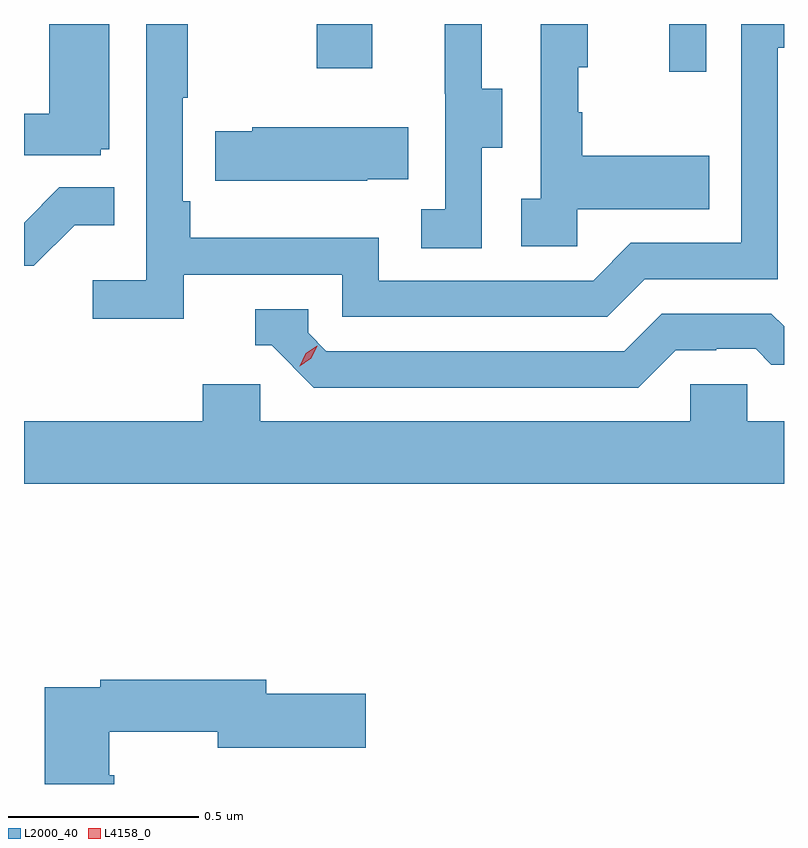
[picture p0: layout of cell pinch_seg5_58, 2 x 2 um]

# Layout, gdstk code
import gdstk
lib = gdstk.Library(unit=1e-6, precision=1e-09)
def R(c, l, rs):  # rectangles x0, y0, x1, y1
    for r in rs: c.add(gdstk.rectangle(r[:2], r[2:], *l))
def P(c, l, *ps):  # polygons
    for p in ps: c.add(gdstk.Polygon(p, *l))
L2000_40 = (2000, 40)
L4158_0 = (4158, 0)

pinch_seg5_58 = lib.new_cell('pinch_seg5_58')
R(pinch_seg5_58, L2000_40, [(1018.79,904.464,1018.887,904.59), (1017.862,904.473,1018.009,904.59)])
P(pinch_seg5_58, L2000_40, [(1017.294,904.26),(1017.316,904.26),(1017.316,904.59),(1017.158,904.59),(1017.158,904.354),(1017.092,904.354),(1017.092,904.245),(1017.294,904.245)],
  [(1018.296,904.264),(1018.351,904.264),(1018.351,904.419),(1018.297,904.419),(1018.297,904.59),(1018.199,904.59),(1018.199,904.407),(1018.2,904.407),(1018.2,904.103),(1018.137,904.103),(1018.137,904),(1018.296,904)],
  [(1017.512,903.93),(1017.93,903.93),(1017.93,903.819),(1018.627,903.819),(1018.726,903.918),(1019.076,903.918),(1019.076,904.527),(1019.092,904.527),(1019.092,904.59),(1018.98,904.59),(1018.98,904.014),(1018.689,904.014),(1018.59,903.915),(1018.026,903.915),(1018.026,904.027),(1017.53,904.027),(1017.53,904.123),(1017.51,904.123),(1017.51,904.396),(1017.523,904.396),(1017.523,904.59),(1017.414,904.59),(1017.414,903.916),(1017.273,903.916),(1017.273,903.814),(1017.512,903.814)],
  [(1018.548,904.103),(1018.895,904.103),(1018.895,904.243),(1018.561,904.243),(1018.561,904.358),(1018.551,904.358),(1018.551,904.476),(1018.576,904.476),(1018.576,904.59),(1018.452,904.59),(1018.452,904.13),(1018.401,904.13),(1018.401,904.005),(1018.548,904.005)],
  [(1017.995,904.181),(1018.103,904.181),(1018.103,904.318),(1017.693,904.318),(1017.693,904.308),(1017.595,904.308),(1017.595,904.178),(1017.995,904.178)],
  [(1017.225,904.061),(1017.329,904.061),(1017.329,904.16),(1017.185,904.16),(1017.092,904.067),(1017.092,903.954),(1017.118,903.954)],
  [(1018.807,903.732),(1018.914,903.732),(1018.914,903.735),(1019.017,903.735),(1019.059,903.693),(1019.092,903.693),(1019.092,903.795),(1019.059,903.828),(1018.77,903.828),(1018.671,903.729),(1017.888,903.729),(1017.84,903.777),(1017.84,903.84),(1017.701,903.84),(1017.701,903.744),(1017.744,903.744),(1017.855,903.633),(1018.708,903.633)],
  [(1019.092,903.544),(1018.995,903.544),(1018.995,903.642),(1018.845,903.642),(1018.845,903.544),(1017.714,903.544),(1017.714,903.642),(1017.563,903.642),(1017.563,903.544),(1017.092,903.544),(1017.092,903.38),(1019.092,903.38)],
  [(1017.329,902.613),(1017.316,902.613),(1017.316,902.728),(1017.602,902.728),(1017.602,902.686),(1017.991,902.686),(1017.991,902.828),(1017.73,902.828),(1017.73,902.864),(1017.292,902.864),(1017.292,902.844),(1017.146,902.844),(1017.146,902.59),(1017.329,902.59)])
P(pinch_seg5_58, L4158_0, [(1017.818,903.69),(1017.818,903.69),(1017.834,903.723),(1017.864,903.743),(1017.864,903.743),(1017.864,903.742),(1017.848,903.71),(1017.818,903.69)])

lib.write_gds('pinch_seg5_58.gds')
